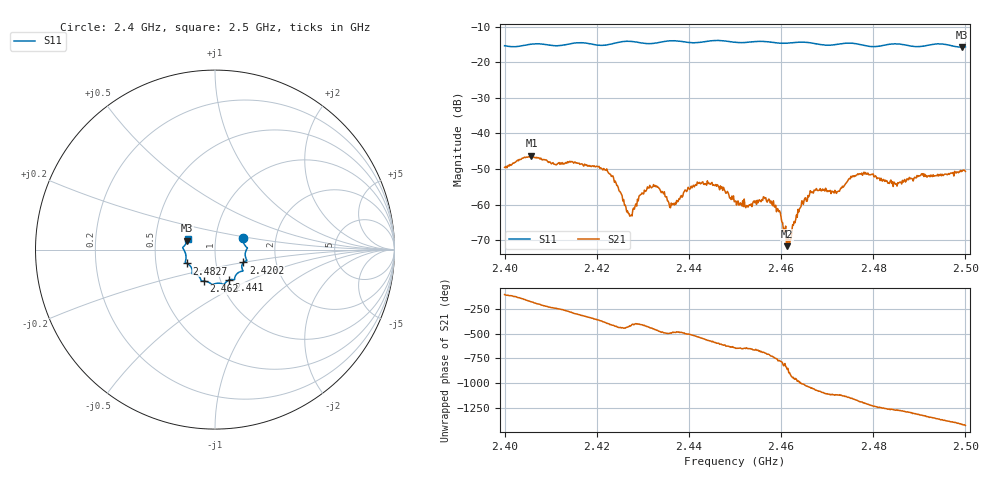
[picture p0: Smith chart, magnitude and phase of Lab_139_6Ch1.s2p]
# Hz S RI R 50
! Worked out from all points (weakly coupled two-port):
!   601 points, 2.4 GHz to 2.5 GHz, reference 50 ohm
!   highest |S21| = -46.27 dB at 2.4058 GHz (marker M1); lowest = -71.7 dB at 2.4613 GHz (marker M2)
!   lowest |S11| = -15.8 dB at 2.4992 GHz (marker M3), VSWR 1.39, Z = 36.5 + j3.68 ohm
!   |S11| at or under -10 dB: start of sweep to end of sweep
!   S12 and S22 are empty: the file has one direction only
!   S11 on the Smith chart (normalised r, x): 2.4 GHz: 1.36, +0.18; 2.4202 GHz: 1.36, -0.20; 2.441 GHz: 1.10, -0.39; 2.462 GHz: 0.84, -0.30; 2.4827 GHz: 0.72, -0.11; 2.5 GHz: 0.73, +0.09
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2.4e9  0.1581 0.0624  -0.000713 -0.00325  0 0  0 0
2.405833e9  0.1785 0.0116  -0.00485 -0.000255  0 0  0 0
2.416667e9  0.1773 -0.0607  0.00262 0.00267  0 0  0 0
2.420167e9  0.1581 -0.0714  0.0034 0.000121  0 0  0 0
2.423167e9  0.1497 -0.0997  0.00161 -0.00189  0 0  0 0
2.427167e9  0.1556 -0.1191  0.000365 -0.000582  0 0  0 0
2.429833e9  0.1378 -0.1238  0.000977 -0.00108  0 0  0 0
2.433333e9  0.1117 -0.1511  -0.000612 -0.00164  0 0  0 0
2.436333e9  0.1087 -0.1675  -0.000622 -0.000768  0 0  0 0
2.441e9  0.0782 -0.1697  -0.00173 -0.000717  0 0  0 0
2.45e9  0.0282 -0.1878  0.000221 0.00109  0 0  0 0
2.457833e9  -0.0247 -0.189  0.00111 -0.00011  0 0  0 0
2.461333e9  -0.0547 -0.1762  -0.000202 -0.000164  0 0  0 0
2.462e9  -0.0607 -0.1758  -0.000312 6.03e-05  0 0  0 0
2.464167e9  -0.0741 -0.1757  0.000186 0.000885  0 0  0 0
2.466667e9  -0.0789 -0.1681  0.00123 0.000798  0 0  0 0
2.472333e9  -0.1163 -0.1352  0.00117 -0.000985  0 0  0 0
2.477e9  -0.127 -0.1241  -0.000761 -0.0026  0 0  0 0
2.482667e9  -0.1565 -0.0771  -0.00219 -0.000127  0 0  0 0
2.483333e9  -0.1607 -0.0753  -0.00202 0.000116  0 0  0 0
2.499167e9  -0.1546 0.0492  0.00269 0.00111  0 0  0 0
2.5e9  -0.1522 0.061  0.00286 0.00059  0 0  0 0
